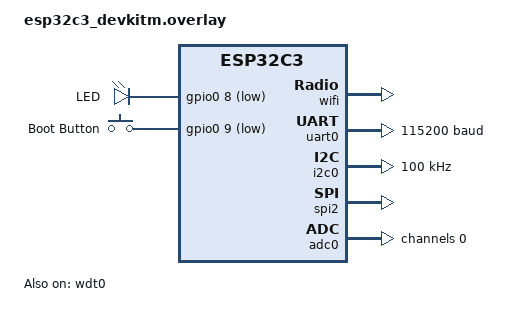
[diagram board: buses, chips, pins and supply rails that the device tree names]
/*
 * ESP32-C3 DevKitM Device Tree Overlay for AkiraOS
 * RISC-V single-core @ 160MHz
 * 
 * Features:
 * - WiFi 802.11b/g/n
 * - Bluetooth LE 5.0
 * - 22 programmable GPIOs
 * - 2x 12-bit ADC (6 channels)
 * - 3x SPI, 2x UART, 1x I2C, 1x I2S
 * - Temperature sensor
 * - LED PWM (LEDC)
 */

#include <zephyr/dt-bindings/gpio/gpio.h>

/* WiFi configuration */
&wifi {
    status = "okay";
};

/* UART0 for shell and logging */
&uart0 {
    status = "okay";
    current-speed = <115200>;
};

/* I2C for sensors (GPIO4=SDA, GPIO5=SCL are common defaults) */
&i2c0 {
    status = "okay";
    clock-frequency = <I2C_BITRATE_STANDARD>;
};

/* SPI2 for display or other peripherals */
&spi2 {
    status = "okay";
};

/* GPIO controller */
&gpio0 {
    status = "okay";
};

/* ADC for analog inputs */
&adc0 {
    status = "okay";
    #address-cells = <1>;
    #size-cells = <0>;
    
    channel@0 {
        reg = <0>;
        zephyr,gain = "ADC_GAIN_1";
        zephyr,reference = "ADC_REF_INTERNAL";
        zephyr,acquisition-time = <ADC_ACQ_TIME_DEFAULT>;
        zephyr,resolution = <12>;
    };
};

/* Temperature sensor - ESP32-C3 uses coretemp not temp0 */
/* &coretemp {
    status = "okay";
}; */

/* Watchdog */
&wdt0 {
    status = "okay";
};

/* Flash partitions for OTA */
&flash0 {
    status = "okay";
};

/* Aliases for application use */
/ {
    aliases {
        led0 = &led0;
        sw0 = &button0;
    };
    
    /* On-board RGB LED (directly driven via LEDC/GPIO) */
    leds {
        compatible = "gpio-leds";
        led0: led_0 {
            gpios = <&gpio0 8 GPIO_ACTIVE_LOW>;
            label = "LED";
        };
    };
    
    /* Boot button */
    buttons {
        compatible = "gpio-keys";
        button0: button_0 {
            gpios = <&gpio0 9 (GPIO_PULL_UP | GPIO_ACTIVE_LOW)>;
            label = "Boot Button";
            zephyr,code = <0>;
        };
    };
    
    chosen {
        zephyr,console = &uart0;
        zephyr,shell-uart = &uart0;
    };
};
